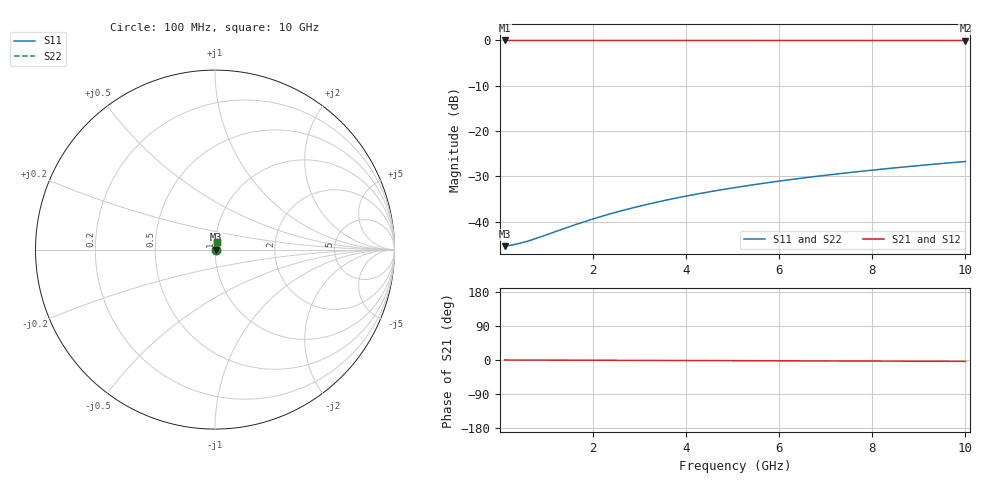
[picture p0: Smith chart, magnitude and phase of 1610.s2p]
# Hz S RI R 50.00
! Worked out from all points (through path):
!   100 points, 100 MHz to 10 GHz, reference 50 ohm
!   highest |S21| = -0.05 dB at 100 MHz (marker M1); lowest = -0.1 dB at 10 GHz (marker M2)
!   lowest |S11| = -45.4 dB at 100 MHz (marker M3), VSWR 1.01, Z = 50.5 + j0.0457 ohm
!   |S11| at or under -10 dB: start of sweep to end of sweep
!   |S22| runs from -45.4 to -26.8 dB; largest |S21 - S12| = 0
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1e8  0.00532 0.000452  0.9947 -0.000615  0.9947 -0.000615  0.00532 0.000452
3e8  0.00539 0.00136  0.9946 -0.00184  0.9946 -0.00184  0.00539 0.00136
4e8  0.00541 0.00181  0.9946 -0.00246  0.9946 -0.00246  0.00541 0.00181
6e8  0.00545 0.00271  0.9945 -0.00369  0.9945 -0.00369  0.00545 0.00271
8e8  0.00548 0.00361  0.9945 -0.00492  0.9945 -0.00492  0.00548 0.00361
1.5e9  0.00559 0.00677  0.9944 -0.00922  0.9944 -0.00922  0.00559 0.00677
1.8e9  0.00564 0.00813  0.9943 -0.0111  0.9943 -0.0111  0.00564 0.00813
2.2e9  0.00571 0.00993  0.9943 -0.0135  0.9943 -0.0135  0.00571 0.00993
2.6e9  0.00579 0.0117  0.9942 -0.016  0.9942 -0.016  0.00579 0.0117
3e9  0.00587 0.0135  0.9941 -0.0184  0.9941 -0.0184  0.00587 0.0135
3.4e9  0.00596 0.0154  0.994 -0.0209  0.994 -0.0209  0.00596 0.0154
3.8e9  0.00606 0.0172  0.9939 -0.0234  0.9939 -0.0234  0.00606 0.0172
4.2e9  0.00616 0.019  0.9938 -0.0258  0.9938 -0.0258  0.00616 0.019
4.6e9  0.00628 0.0208  0.9937 -0.0283  0.9937 -0.0283  0.00628 0.0208
5.1e9  0.00643 0.023  0.9935 -0.0313  0.9935 -0.0313  0.00643 0.023
5.5e9  0.00656 0.0248  0.9934 -0.0338  0.9934 -0.0338  0.00656 0.0248
5.9e9  0.0067 0.0266  0.9932 -0.0363  0.9932 -0.0363  0.0067 0.0266
6.7e9  0.00701 0.0302  0.9929 -0.0412  0.9929 -0.0412  0.00701 0.0302
7.5e9  0.00735 0.0338  0.9926 -0.0461  0.9926 -0.0461  0.00735 0.0338
8.4e9  0.00778 0.0379  0.9921 -0.0516  0.9921 -0.0516  0.00778 0.0379
9.2e9  0.0082 0.0415  0.9917 -0.0565  0.9917 -0.0565  0.0082 0.0415
1e10  0.00865 0.0451  0.9912 -0.0614  0.9912 -0.0614  0.00865 0.0451
